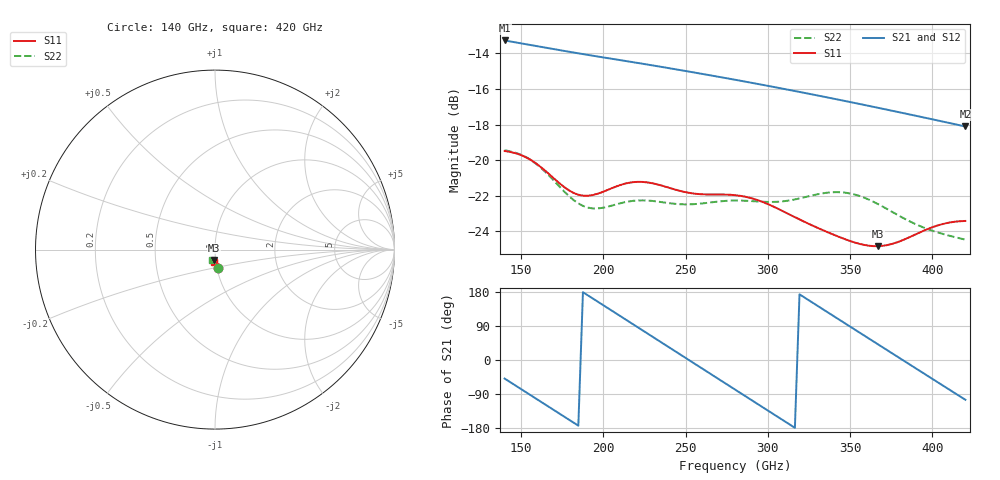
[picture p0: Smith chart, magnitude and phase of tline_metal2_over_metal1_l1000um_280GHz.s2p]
#  GHZ S DB R 50
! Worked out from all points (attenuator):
!   101 points, 140 GHz to 420 GHz, reference 50 ohm
!   highest |S21| = -13.28 dB at 140 GHz (marker M1); lowest = -18.1 dB at 420 GHz (marker M2)
!   lowest |S11| = -24.8 dB at 366.8 GHz (marker M3), VSWR 1.12, Z = 49.3 - j5.66 ohm
!   |S11| at or under -10 dB: start of sweep to end of sweep
!   |S22| runs from -24.5 to -19.4 dB; largest |S21 - S12| = 2.3e-14
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140  -19.49 -79.6  -13.28 -49.0  -13.28 -49.0  -19.45 -80.8
151.2  -19.76 -82.3  -13.46 -80.1  -13.46 -80.1  -19.75 -83.8
162.4  -20.42 -85.2  -13.64 -111.2  -13.64 -111.2  -20.46 -87.3
176.4  -21.53 -85.0  -13.87 -150.0  -13.87 -150.0  -21.78 -88.1
187.6  -22.00 -81.2  -14.04 178.9  -14.04 178.9  -22.57 -84.4
198.8  -21.82 -78.3  -14.21 147.8  -14.21 147.8  -22.69 -80.0
212.8  -21.33 -79.4  -14.42 108.9  -14.42 108.9  -22.37 -78.6
224  -21.23 -82.7  -14.59 77.8  -14.59 77.8  -22.26 -79.8
235.2  -21.42 -85.9  -14.76 46.6  -14.76 46.6  -22.36 -81.1
254.8  -21.88 -88.3  -15.07 -7.9  -15.07 -7.9  -22.48 -81.5
268.8  -21.93 -89.8  -15.30 -46.8  -15.30 -46.8  -22.34 -82.4
280  -21.97 -92.3  -15.48 -77.9  -15.48 -77.9  -22.27 -84.0
291.2  -22.17 -95.4  -15.67 -109.0  -15.67 -109.0  -22.31 -85.7
305.2  -22.69 -98.6  -15.92 -147.9  -15.92 -147.9  -22.34 -86.8
316.4  -23.20 -99.9  -16.12 -178.9  -16.12 -178.9  -22.21 -87.7
327.6  -23.70 -100.1  -16.32 150.0  -16.32 150.0  -21.97 -89.7
347.2  -24.46 -98.5  -16.68 95.8  -16.68 95.8  -21.83 -96.5
366.8  -24.84 -93.6  -17.06 41.6  -17.06 41.6  -22.46 -103.4
375.2  -24.72 -91.2  -17.22 18.4  -17.22 18.4  -22.89 -105.0
386.4  -24.32 -89.3  -17.44 -12.5  -17.44 -12.5  -23.45 -105.7
400.4  -23.76 -89.7  -17.72 -51.1  -17.72 -51.1  -23.98 -105.1
420  -23.42 -92.9  -18.11 -105.0  -18.11 -105.0  -24.47 -103.5
